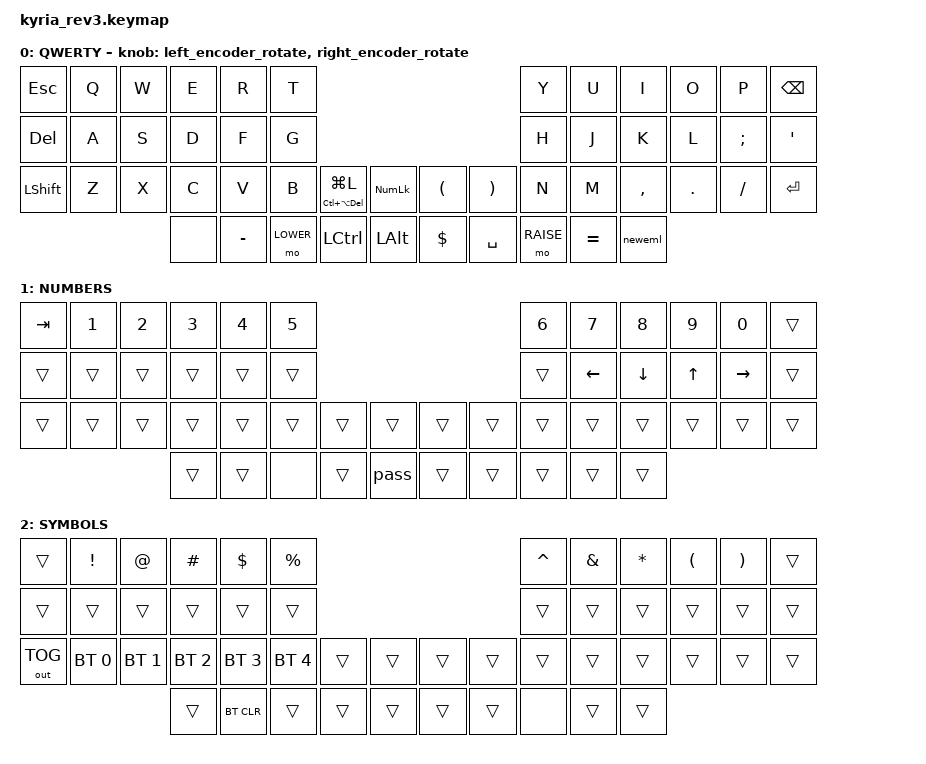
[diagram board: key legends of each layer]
/*
 * Copyright (c) 2020 The ZMK Contributors
 *
 * SPDX-License-Identifier: MIT
 */

#include <behaviors.dtsi>
#include <dt-bindings/zmk/keys.h>
#include <dt-bindings/zmk/bt.h>
#include <dt-bindings/zmk/outputs.h>
#include <dt-bindings/zmk/mouse.h>

#define BASE 0
#define RAISE 1
#define LOWER 2

&mt {
    tapping-term-ms = <200>;5
};

&sensors {
    left_config {
        triggers-per-rotation = <36>;
    };

    right_config {
        triggers-per-rotation = <30>;
    };
};

/ {
    behaviors {
        left_encoder_rotate: left_encoder_rotate {
            compatible = "zmk,behavior-sensor-rotate";
            #sensor-binding-cells = <0>;
            bindings = <&kp PG_DN>, <&kp PG_UP>;
        };

        right_encoder_rotate: right_encoder_rotate {
            compatible = "zmk,behavior-sensor-rotate";
            #sensor-binding-cells = <0>;
            bindings = <&none>, <&none>;
        };

        pht: positional_hold_tap {
            compatible = "zmk,behavior-hold-tap";
            #binding-cells = <2>;
            flavor = "tap-preferred";
            tapping-term-ms = <200>;
            bindings = <&kp>, <&kp>;
        };
    };

    macros {
        pass: pass {
            label = "pass";
            compatible = "zmk,behavior-macro";
            #binding-cells = <0>;
            wait-ms = <5>;
            tap-ms = <5>;
            bindings
                = <&macro_tap &kp LS(W) &kp E &kp L &kp C &kp O &kp M &kp E &kp AT &kp N1 &kp N2 &kp N3>
                ; 
        };

        neweml: neweml {
            label = "NEWEMAIL";
            compatible = "zmk,behavior-macro";
            #binding-cells = <0>;
            wait-ms = <500>;
            tap-ms = <5>;
            bindings
                = <&macro_tap &kp LG(T)>
                , <&macro_tap &kp K_APP>
                , <&macro_tap &kp UP>
                , <&macro_wait_time 100>
                , <&macro_tap &kp UP &kp UP &kp UP &kp UP &kp UP &kp UP &kp UP &kp ENTER &kp LG(T) &kp LGUI &kp LGUI &kp LA(TAB)>
                ; 
        };
    };

    keymap {
        compatible = "zmk,keymap";

        default_layer {
            bindings = <
                &kp ESC         &kp Q               &kp W               &kp E               &kp R               &kp T                                                                                              &kp Y               &kp U            &kp I                  &kp O               &kp P               &kp BSPC
                &kp DEL         &kp A               &kp S               &kp D               &kp F               &kp G                                                                                              &kp H               &kp J            &kp K                  &kp L               &kp SEMI            &kp SQT
                &kp LSHFT       &kp Z               &kp X               &kp C               &kp V               &kp B                  &pht LC(LA(DEL)) LG(L)  &kp KP_NUM                  &kp LPAR    &kp RPAR    &kp N               &kp M            &kp COMMA              &kp DOT             &kp FSLH            &kp ENTER
                                                                        &none               &kp MINUS           &mo LOWER              &kp LCTRL               &kp LALT                    &kp DLLR    &kp SPACE   &mo RAISE           &kp EQUAL        &neweml
            >;
            sensor-bindings = <&left_encoder_rotate &right_encoder_rotate>;
            display-name = "QWERTY";
        };
        
        RAISE_layer {
            bindings = <
                &kp TAB         &kp N1          &kp N2             &kp N3          &kp N4          &kp N5                                                                                      &kp N6          &kp N7          &kp N8                  &kp N9              &kp N0              &trans
                &trans          &trans          &trans             &trans          &trans          &trans                                                                                      &trans          &kp LEFT        &kp DOWN                &kp UP              &kp RIGHT           &trans
                &trans          &trans          &trans             &trans          &trans          &trans          &trans          &trans                              &trans      &trans      &trans          &trans          &trans                  &trans              &trans              &trans
                                                                   &trans          &trans          &none           &trans          &pass                               &trans      &trans      &trans          &trans          &trans
            >;
            display-name = "NUMBERS";
        };

        LOWER_layer {
            bindings = <
                &trans          &kp EXCL        &kp AT          &kp HASH        &kp DLLR        &kp PRCNT                                                                                   &kp CARET       &kp AMPS        &kp ASTRK               &kp LPAR            &kp RPAR              &trans
                &trans          &trans          &trans          &trans          &trans          &trans                                                                                      &trans          &trans          &trans                  &trans              &trans                &trans
                &out OUT_TOG    &bt BT_SEL 0    &bt BT_SEL 1    &bt BT_SEL 2    &bt BT_SEL 3    &bt BT_SEL 4    &trans          &trans                              &trans      &trans      &trans          &trans          &trans                  &trans              &trans                &trans
                                                                &trans          &bt BT_CLR      &trans          &trans          &trans                              &trans      &trans      &none           &trans          &trans
            >;
            display-name = "SYMBOLS";
        };
    };
};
